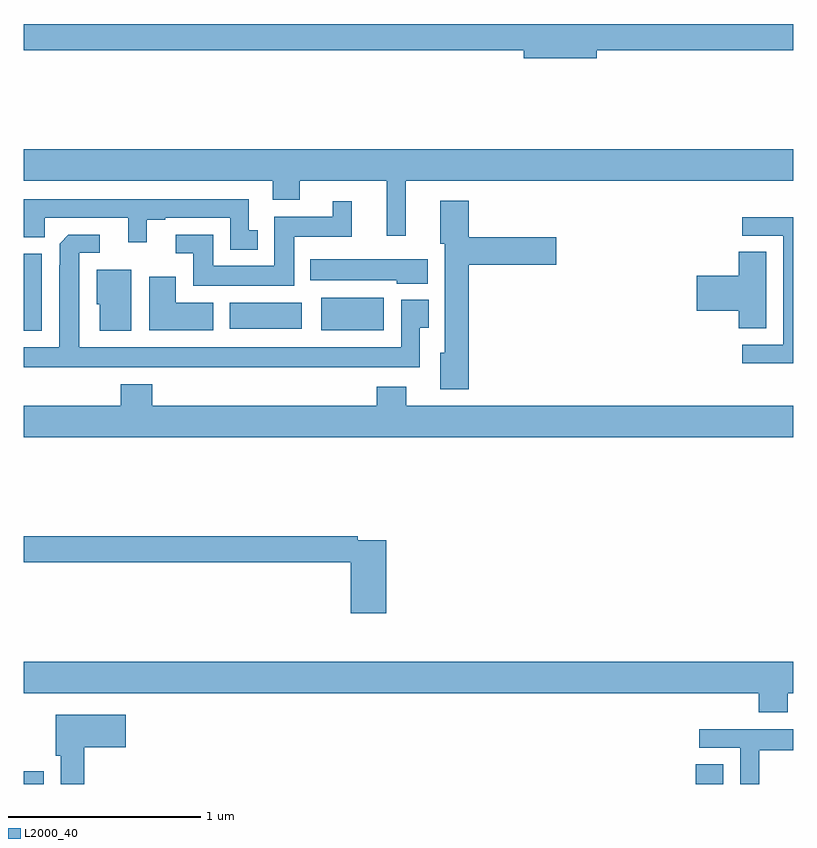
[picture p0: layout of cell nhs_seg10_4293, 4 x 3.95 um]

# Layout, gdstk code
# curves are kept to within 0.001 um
import gdstk
lib = gdstk.Library(unit=1e-6, precision=1e-09)
def R(c, l, rs):  # rectangles x0, y0, x1, y1
    for r in rs: c.add(gdstk.rectangle(r[:2], r[2:], *l))
def P(c, l, *ps):  # polygons
    for p in ps: c.add(gdstk.Polygon(p, *l))
L2000_40 = (2000, 40)

nhs_seg10_4293 = lib.new_cell('nhs_seg10_4293')
R(nhs_seg10_4293, L2000_40, [(351,1310.5,351.103,1310.566), (354.494,1310.5,354.637,1310.603), (351,1312.856,351.094,1313.257), (352.547,1312.859,352.87,1313.029), (352.07,1312.868,352.444,1313.002)])
P(nhs_seg10_4293, L2000_40, [(353.98,1314.316),(355,1314.316),(355,1314.452),(351,1314.452),(351,1314.316),(353.6,1314.316),(353.6,1314.274),(353.98,1314.274)],
  [(352.985,1313.636),(355,1313.636),(355,1313.8),(351,1313.8),(351,1313.636),(352.295,1313.636),(352.295,1313.537),(352.435,1313.537),(352.435,1313.636),(352.886,1313.636),(352.886,1313.352),(352.985,1313.352)],
  [(352.216,1313.379),(352.17,1313.379),(352.17,1313.541),(351,1313.541),(351,1313.342),(351.108,1313.342),(351.108,1313.445),(351.542,1313.445),(351.542,1313.316),(351.64,1313.316),(351.64,1313.433),(351.736,1313.433),(351.736,1313.445),(352.074,1313.445),(352.074,1313.279),(352.216,1313.279)],
  [(353.312,1313.201),(353.767,1313.201),(353.767,1313.343),(353.312,1313.343),(353.312,1313.533),(353.165,1313.533),(353.165,1313.31),(353.189,1313.31),(353.189,1312.743),(353.165,1312.743),(353.165,1312.553),(353.312,1312.553)],
  [(352.405,1313.345),(352.706,1313.345),(352.706,1313.53),(352.607,1313.53),(352.607,1313.449),(352.301,1313.449),(352.301,1313.194),(351.985,1313.194),(351.985,1313.355),(351.789,1313.355),(351.789,1313.259),(351.881,1313.259),(351.881,1313.09),(352.405,1313.09)],
  [(355,1313.448),(354.735,1313.448),(354.735,1313.352),(354.948,1313.352),(354.948,1312.785),(354.735,1312.785),(354.735,1312.687),(355,1312.687)],
  [(353.059,1312.873),(353.104,1312.873),(353.104,1313.017),(352.962,1313.017),(352.962,1312.771),(351.289,1312.771),(351.289,1313.262),(351.394,1313.262),(351.394,1313.355),(351.232,1313.355),(351.186,1313.309),(351.185,1312.771),(351,1312.771),(351,1312.667),(353.059,1312.667)],
  [(354.859,1313.267),(354.716,1313.267),(354.716,1313.144),(354.498,1313.144),(354.498,1312.961),(354.716,1312.961),(354.716,1312.87),(354.859,1312.87)],
  [(353.101,1313.23),(352.49,1313.23),(352.49,1313.12),(352.938,1313.12),(352.938,1313.102),(353.101,1313.102)],
  [(351.559,1313.173),(351.38,1313.173),(351.38,1312.995),(351.395,1312.995),(351.395,1312.856),(351.559,1312.856)],
  [(351.985,1313.002),(351.79,1313.002),(351.79,1313.137),(351.653,1313.137),(351.653,1312.859),(351.985,1312.859)],
  [(355,1312.468),(352.987,1312.468),(352.987,1312.567),(352.835,1312.567),(352.835,1312.468),(351.668,1312.468),(351.668,1312.579),(351.503,1312.579),(351.503,1312.468),(351,1312.468),(351,1312.304),(355,1312.304)],
  [(352.883,1311.768),(352.736,1311.768),(352.736,1311.788),(351,1311.788),(351,1311.652),(352.7,1311.652),(352.7,1311.387),(352.883,1311.387)],
  [(354.973,1310.972),(355,1310.972),(355,1311.136),(351,1311.136),(351,1310.972),(354.821,1310.972),(354.821,1310.873),(354.973,1310.873)],
  [(351.314,1310.69),(351.529,1310.69),(351.529,1310.86),(351.167,1310.86),(351.167,1310.646),(351.191,1310.646),(351.191,1310.5),(351.314,1310.5)],
  [(354.825,1310.676),(355,1310.676),(355,1310.784),(354.513,1310.784),(354.513,1310.688),(354.726,1310.688),(354.726,1310.5),(354.825,1310.5)])

lib.write_gds('nhs_seg10_4293.gds')
